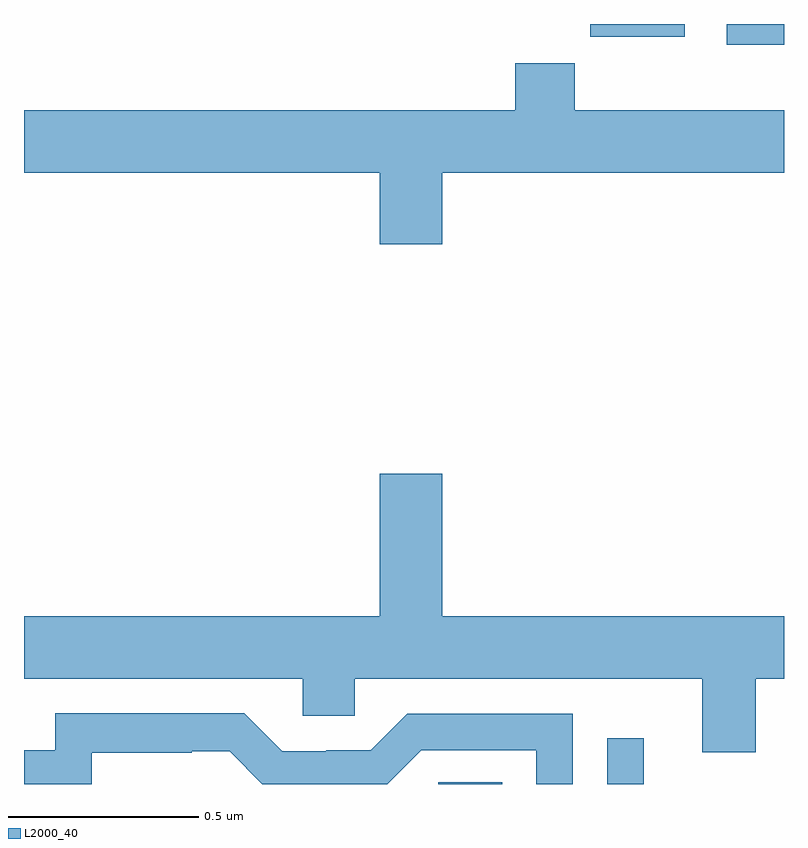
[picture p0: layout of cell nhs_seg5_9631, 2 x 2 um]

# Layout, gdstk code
import gdstk
lib = gdstk.Library(unit=1e-6, precision=1e-09)
def R(c, l, rs):  # rectangles x0, y0, x1, y1
    for r in rs: c.add(gdstk.rectangle(r[:2], r[2:], *l))
def P(c, l, *ps):  # polygons
    for p in ps: c.add(gdstk.Polygon(p, *l))
L2000_40 = (2000, 40)

nhs_seg5_9631 = lib.new_cell('nhs_seg5_9631')
R(nhs_seg5_9631, L2000_40, [(237.09,873.799,237.258,873.803), (237.535,873.799,237.631,873.919), (237.849,875.744,238,875.799), (237.49,875.766,237.739,875.799)])
P(nhs_seg5_9631, L2000_40, [(237.1,875.408),(238,875.408),(238,875.572),(237.449,875.572),(237.449,875.696),(237.293,875.696),(237.293,875.572),(236,875.572),(236,875.408),(236.936,875.408),(236.936,875.22),(237.1,875.22)],
  [(237.925,874.076),(238,874.076),(238,874.24),(237.1,874.24),(237.1,874.615),(236.936,874.615),(236.936,874.24),(236,874.24),(236,874.076),(236.733,874.076),(236.733,873.978),(236.871,873.978),(236.871,874.076),(237.785,874.076),(237.785,873.882),(237.925,873.882)],
  [(236.178,873.881),(236.441,873.881),(236.441,873.885),(236.541,873.885),(236.627,873.799),(236.956,873.799),(237.045,873.888),(237.348,873.888),(237.348,873.799),(237.444,873.799),(237.444,873.984),(237.009,873.984),(236.913,873.888),(236.795,873.888),(236.795,873.885),(236.679,873.885),(236.579,873.985),(236.082,873.985),(236.082,873.888),(236,873.888),(236,873.799),(236.178,873.799)])

lib.write_gds('nhs_seg5_9631.gds')
